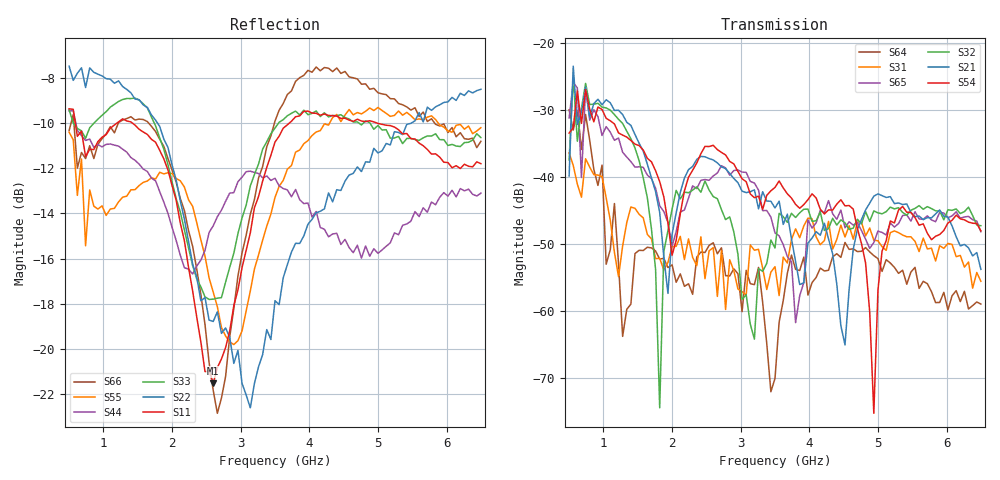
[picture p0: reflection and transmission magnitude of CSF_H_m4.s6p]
!Keysight Technologies,M9804A,MY58100912,A.14.10.03
!Date: Thursday, April 27, 2023 10:28:33
!Correction: S11(C  6-Port  )
!S12(C  6-Port  )
!S13(C  6-Port  )
!S14(C  6-Port  )
!S15(C  6-Port  )
!S16(C  6-Port  )
!S21(C  6-Port  )
!S22(C  6-Port  )
!S23(C  6-Port  )
!S24(C  6-Port  )
!S25(C  6-Port  )
!S26(C  6-Port  )
!S31(C  6-Port  )
!S32(C  6-Port  )
!S33(C  6-Port  )
!S34(C  6-Port  )
!S35(C  6-Port  )
!S36(C  6-Port  )
!S41(C  6-Port  )
!S42(C  6-Port  )
!S43(C  6-Port  )
!S44(C  6-Port  )
!S45(C  6-Port  )
!S46(C  6-Port  )
!S51(C  6-Port  )
!S52(C  6-Port  )
!S53(C  6-Port  )
!S54(C  6-Port  )
!S55(C  6-Port  )
!S56(C  6-Port  )
!S61(C  6-Port  )
!S62(C  6-Port  )
!S63(C  6-Port  )
!S64(C  6-Port  )
!S65(C  6-Port  )
!S66(C  6-Port  )
!S6P File: Measurement: :
# Hz S  RI  R 50
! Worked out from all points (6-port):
!   101 points, 500 MHz to 6.5 GHz, reference 50 ohm
!   strongest paths, dB at 500 MHz, 2 GHz, 3.5 GHz, 5 GHz, 6.5 GHz:
!     S54: -33.5, -51.7, -41.6, -56.9, -48.1
!     S21: -39.9, -48.6, -44.7, -42.5, -53.8
!     S32: -37.5, -44.8, -50.6, -45.4, -47.3
!     S65: -31.2, -50.4, -48.4, -48.1, -48.2
!     S31: -36.4, -50.4, -53.4, -49.5, -55.6
!     S64: -30.0, -53.2, -70.1, -52.2, -59.0
!   lowest |S11| = -21.5 dB at 2.6 GHz (marker M1), VSWR 1.18, Z = 42.5 + j2.15 ohm
!   |S11| at or under -10 dB: 590.1 MHz to 1.202 GHz (611.5 MHz wide, 68.3 % of centre); 1.418 GHz to 3.713 GHz (2.295 GHz wide, 89.4 % of centre); 4.977 GHz to end of sweep
